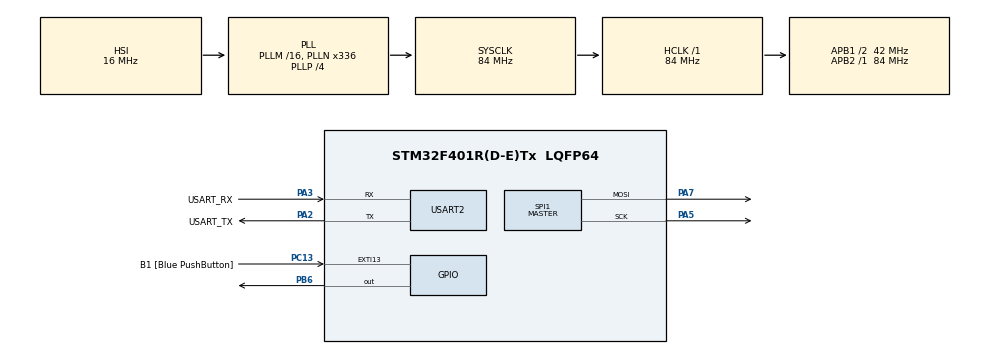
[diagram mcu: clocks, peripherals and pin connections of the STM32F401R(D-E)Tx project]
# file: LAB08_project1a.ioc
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Mcu.Family=STM32F4
Mcu.Name=STM32F401R(D-E)Tx
Mcu.Package=LQFP64
NVIC.PriorityGroup=NVIC_PRIORITYGROUP_0
NVIC.TIM3_IRQn=true\:0\:0\:false\:false\:true\:true\:true\:true
PA13.GPIO_Label=TMS
PA13.Mode=Serial_Wire
PA13.Signal=SYS_JTMS-SWDIO
PA14.GPIO_Label=TCK
PA14.Mode=Serial_Wire
PA14.Signal=SYS_JTCK-SWCLK
PA2.GPIO_Label=USART_TX
PA2.GPIO_Mode=GPIO_MODE_AF_PP
PA2.GPIO_PuPd=GPIO_NOPULL
PA2.GPIO_Speed=GPIO_SPEED_FREQ_LOW
PA2.Mode=Asynchronous
PA2.Signal=USART2_TX
PA3.GPIO_Label=USART_RX
PA3.GPIO_Mode=GPIO_MODE_AF_PP
PA3.GPIO_PuPd=GPIO_NOPULL
PA3.GPIO_Speed=GPIO_SPEED_FREQ_LOW
PA3.Mode=Asynchronous
PA3.Signal=USART2_RX
PA5.Mode=TX_Only_Simplex_Unidirect_Master
PA5.Signal=SPI1_SCK
PA7.Mode=TX_Only_Simplex_Unidirect_Master
PA7.Signal=SPI1_MOSI
PB3.GPIO_Label=SWO
PB3.Signal=SYS_JTDO-SWO
PB6.Signal=GPIO_Output
PC13-ANTI_TAMP.GPIO_Label=B1 [Blue PushButton]
PC13-ANTI_TAMP.GPIO_ModeDefaultEXTI=GPIO_MODE_IT_FALLING
PC13-ANTI_TAMP.GPIO_PuPd=GPIO_NOPULL
PC13-ANTI_TAMP.Signal=GPXTI13
PC14-OSC32_IN.Mode=LSE-External-Oscillator
PC14-OSC32_IN.Signal=RCC_OSC32_IN
PC15-OSC32_OUT.Mode=LSE-External-Oscillator
PC15-OSC32_OUT.Signal=RCC_OSC32_OUT
PH0\ -\ OSC_IN.Mode=HSE-External-Clock-Source
PH0\ -\ OSC_IN.Signal=RCC_OSC_IN
PH1\ -\ OSC_OUT.Mode=HSE-External-Clock-Source
PH1\ -\ OSC_OUT.Signal=RCC_OSC_OUT
ProjectManager.HeapSize=0x200
ProjectManager.StackSize=0x400
ProjectManager.TargetToolchain=STM32CubeIDE
RCC.48MHZClocksFreq_Value=48000000
RCC.AHBFreq_Value=84000000
RCC.APB1CLKDivider=RCC_HCLK_DIV2
RCC.APB1Freq_Value=42000000
RCC.APB1TimFreq_Value=84000000
RCC.APB2Freq_Value=84000000
RCC.APB2TimFreq_Value=84000000
RCC.CortexFreq_Value=84000000
RCC.HCLKFreq_Value=84000000
RCC.HSE_VALUE=8000000
RCC.HSI_VALUE=16000000
RCC.PLLN=336
RCC.PLLP=RCC_PLLP_DIV4
RCC.PLLQ=7
RCC.SYSCLKFreq_VALUE=84000000
RCC.SYSCLKSource=RCC_SYSCLKSOURCE_PLLCLK
RCC.VCOOutputFreq_Value=336000000
SPI1.BaudRatePrescaler=SPI_BAUDRATEPRESCALER_4
SPI1.Direction=SPI_DIRECTION_2LINES
SPI1.Mode=SPI_MODE_MASTER
SPI1.VirtualType=VM_MASTER
TIM3.Period=40-1
TIM3.Prescaler=8400-1
USART2.VirtualMode=VM_ASYNC
VP_TIM3_VS_ClockSourceINT.Mode=Internal
board=NUCLEO-F401RE

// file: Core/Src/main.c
/* USER CODE BEGIN Header */
/**
  ******************************************************************************
  * @file           : main.c
  * @brief          : Main program body
  ******************************************************************************
  * @attention
  *
  * Copyright (c) 2023 STMicroelectronics.
  * All rights reserved.
  *
  * This software is licensed under terms that can be found in the LICENSE file
  * in the root directory of this software component.
  * If no LICENSE file comes with this software, it is provided AS-IS.
  *
  ******************************************************************************
  */
/* USER CODE END Header */
#include "main.h"

SPI_HandleTypeDef hspi1;

TIM_HandleTypeDef htim3;

UART_HandleTypeDef huart2;

void SystemClock_Config(void);
static void MX_GPIO_Init(void);
static void MX_USART2_UART_Init(void);
static void MX_SPI1_Init(void);
static void MX_TIM3_Init(void);

/* USER CODE BEGIN 0 */
int column_shift=0;
uint8_t matrix_A[5][2]= {
		{31, 16},
		{36, 8},
		{68, 4},
		{36, 2},
		{31, 1},
};

/* USER CODE END 0 */

int main(void)
{

  /* MCU Configuration--------------------------------------------------------*/

  /* Reset of all peripherals, Initializes the Flash interface and the Systick. */
  HAL_Init();

  /* Configure the system clock */
  SystemClock_Config();

  /* Initialize all configured peripherals */
  MX_GPIO_Init();
  MX_USART2_UART_Init();
  MX_SPI1_Init();
  MX_TIM3_Init();
  /* USER CODE BEGIN 2 */

  HAL_TIM_Base_Start_IT(&htim3);
  /* USER CODE END 2 */

  /* Infinite loop */
  while (1)
  {

  }
}

void SystemClock_Config(void)
{
  RCC_OscInitTypeDef RCC_OscInitStruct = {0};
  RCC_ClkInitTypeDef RCC_ClkInitStruct = {0};

  /** Configure the main internal regulator output voltage
  */
  __HAL_RCC_PWR_CLK_ENABLE();
  __HAL_PWR_VOLTAGESCALING_CONFIG(PWR_REGULATOR_VOLTAGE_SCALE2);

  /** Initializes the RCC Oscillators according to the specified parameters
  * in the RCC_OscInitTypeDef structure.
  */
  RCC_OscInitStruct.OscillatorType = RCC_OSCILLATORTYPE_HSI;
  RCC_OscInitStruct.HSIState = RCC_HSI_ON;
  RCC_OscInitStruct.HSICalibrationValue = RCC_HSICALIBRATION_DEFAULT;
  RCC_OscInitStruct.PLL.PLLState = RCC_PLL_ON;
  RCC_OscInitStruct.PLL.PLLSource = RCC_PLLSOURCE_HSI;
  RCC_OscInitStruct.PLL.PLLM = 16;
  RCC_OscInitStruct.PLL.PLLN = 336;
  RCC_OscInitStruct.PLL.PLLP = RCC_PLLP_DIV4;
  RCC_OscInitStruct.PLL.PLLQ = 7;
  if (HAL_RCC_OscConfig(&RCC_OscInitStruct) != HAL_OK)
  {
    Error_Handler();
  }

  /** Initializes the CPU, AHB and APB buses clocks
  */
  RCC_ClkInitStruct.ClockType = RCC_CLOCKTYPE_HCLK|RCC_CLOCKTYPE_SYSCLK
                              |RCC_CLOCKTYPE_PCLK1|RCC_CLOCKTYPE_PCLK2;
  RCC_ClkInitStruct.SYSCLKSource = RCC_SYSCLKSOURCE_PLLCLK;
  RCC_ClkInitStruct.AHBCLKDivider = RCC_SYSCLK_DIV1;
  RCC_ClkInitStruct.APB1CLKDivider = RCC_HCLK_DIV2;
  RCC_ClkInitStruct.APB2CLKDivider = RCC_HCLK_DIV1;

  if (HAL_RCC_ClockConfig(&RCC_ClkInitStruct, FLASH_LATENCY_2) != HAL_OK)
  {
    Error_Handler();
  }
}

static void MX_SPI1_Init(void)
{

  /* SPI1 parameter configuration*/
  hspi1.Instance = SPI1;
  hspi1.Init.Mode = SPI_MODE_MASTER;
  hspi1.Init.Direction = SPI_DIRECTION_2LINES;
  hspi1.Init.DataSize = SPI_DATASIZE_8BIT;
  hspi1.Init.CLKPolarity = SPI_POLARITY_LOW;
  hspi1.Init.CLKPhase = SPI_PHASE_1EDGE;
  hspi1.Init.NSS = SPI_NSS_SOFT;
  hspi1.Init.BaudRatePrescaler = SPI_BAUDRATEPRESCALER_4;
  hspi1.Init.FirstBit = SPI_FIRSTBIT_MSB;
  hspi1.Init.TIMode = SPI_TIMODE_DISABLE;
  hspi1.Init.CRCCalculation = SPI_CRCCALCULATION_DISABLE;
  hspi1.Init.CRCPolynomial = 10;
  if (HAL_SPI_Init(&hspi1) != HAL_OK)
  {
    Error_Handler();
  }

}

static void MX_TIM3_Init(void)
{

  TIM_ClockConfigTypeDef sClockSourceConfig = {0};
  TIM_MasterConfigTypeDef sMasterConfig = {0};

  htim3.Instance = TIM3;
  htim3.Init.Prescaler = 8400-1;
  htim3.Init.CounterMode = TIM_COUNTERMODE_UP;
  htim3.Init.Period = 40-1;
  htim3.Init.ClockDivision = TIM_CLOCKDIVISION_DIV1;
  htim3.Init.AutoReloadPreload = TIM_AUTORELOAD_PRELOAD_DISABLE;
  if (HAL_TIM_Base_Init(&htim3) != HAL_OK)
  {
    Error_Handler();
  }
  sClockSourceConfig.ClockSource = TIM_CLOCKSOURCE_INTERNAL;
  if (HAL_TIM_ConfigClockSource(&htim3, &sClockSourceConfig) != HAL_OK)
  {
    Error_Handler();
  }
  sMasterConfig.MasterOutputTrigger = TIM_TRGO_RESET;
  sMasterConfig.MasterSlaveMode = TIM_MASTERSLAVEMODE_DISABLE;
  if (HAL_TIMEx_MasterConfigSynchronization(&htim3, &sMasterConfig) != HAL_OK)
  {
    Error_Handler();
  }

}

static void MX_USART2_UART_Init(void)
{

  huart2.Instance = USART2;
  huart2.Init.BaudRate = 115200;
  huart2.Init.WordLength = UART_WORDLENGTH_8B;
  huart2.Init.StopBits = UART_STOPBITS_1;
  huart2.Init.Parity = UART_PARITY_NONE;
  huart2.Init.Mode = UART_MODE_TX_RX;
  huart2.Init.HwFlowCtl = UART_HWCONTROL_NONE;
  huart2.Init.OverSampling = UART_OVERSAMPLING_16;
  if (HAL_UART_Init(&huart2) != HAL_OK)
  {
    Error_Handler();
  }

}

static void MX_GPIO_Init(void)
{
  GPIO_InitTypeDef GPIO_InitStruct = {0};

  /* GPIO Ports Clock Enable */
  __HAL_RCC_GPIOC_CLK_ENABLE();
  __HAL_RCC_GPIOH_CLK_ENABLE();
  __HAL_RCC_GPIOA_CLK_ENABLE();
  __HAL_RCC_GPIOB_CLK_ENABLE();

  /*Configure GPIO pin Output Level */
  HAL_GPIO_WritePin(GPIOB, GPIO_PIN_6, GPIO_PIN_RESET);

  /*Configure GPIO pin : B1_Pin */
  GPIO_InitStruct.Pin = B1_Pin;
  GPIO_InitStruct.Mode = GPIO_MODE_IT_FALLING;
  GPIO_InitStruct.Pull = GPIO_NOPULL;
  HAL_GPIO_Init(B1_GPIO_Port, &GPIO_InitStruct);

  /*Configure GPIO pin : PB6 */
  GPIO_InitStruct.Pin = GPIO_PIN_6;
  GPIO_InitStruct.Mode = GPIO_MODE_OUTPUT_PP;
  GPIO_InitStruct.Pull = GPIO_NOPULL;
  GPIO_InitStruct.Speed = GPIO_SPEED_FREQ_LOW;
  HAL_GPIO_Init(GPIOB, &GPIO_InitStruct);

}

/* USER CODE BEGIN 4 */
void HAL_TIM_PeriodElapsedCallback (TIM_HandleTypeDef *htim){
	if(htim==&htim3){
		HAL_SPI_Transmit(&hspi1,matrix_A[column_shift],2,10);
		// write PIN RSCLOCK
		HAL_GPIO_WritePin(GPIOB, GPIO_PIN_6, GPIO_PIN_SET);
		column_shift++;

		if(column_shift==5){
			column_shift=0;
		}
		HAL_GPIO_WritePin(GPIOB, GPIO_PIN_6, GPIO_PIN_RESET);
	}
}
/* USER CODE END 4 */

void Error_Handler(void)
{
  __disable_irq();
  while (1)
  {
  }
}
